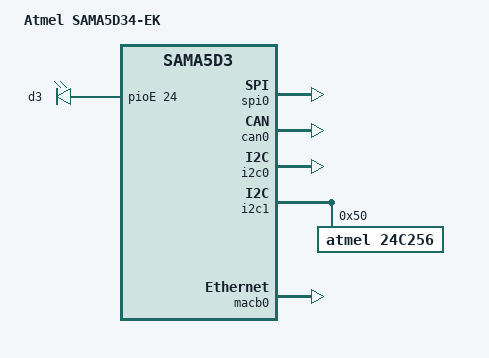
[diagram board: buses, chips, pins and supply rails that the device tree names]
/*
 * sama5d34ek.dts - Device Tree file for SAMA5D34-EK board
 *
 *  Copyright (C) 2013 Atmel,
 *                2013 Ludovic Desroches <ludovic.desroches@atmel.com>
 *
 * Licensed under GPLv2 or later.
 */
/dts-v1/;
#include "sama5d34.dtsi"
#include "sama5d3xmb.dtsi"
#include "sama5d3xmb_gmac.dtsi"
#include "sama5d3xdm.dtsi"

/ {
	model = "Atmel SAMA5D34-EK";
	compatible = "atmel,sama5d34ek", "atmel,sama5d3xmb", "atmel,sama5d3xcm", "atmel,sama5d34", "atmel,sama5d3", "atmel,sama5";

	ahb {
		apb {
			spi0: spi@f0004000 {
				status = "okay";
			};

			ssc0: ssc@f0008000 {
				status = "okay";
			};

			can0: can@f000c000 {
				status = "okay";
			};

			i2c0: i2c@f0014000 {
				status = "okay";
			};

			i2c1: i2c@f0018000 {
				status = "okay";

				24c256@50 {
					compatible = "atmel,24c256";
					reg = <0x50>;
					pagesize = <64>;
				};
			};

			macb0: ethernet@f0028000 {
				status = "okay";
			};
		};
	};

	leds {
		d3 {
			label = "d3";
			gpios = <&pioE 24 GPIO_ACTIVE_HIGH>;
		};
	};

	sound {
		status = "okay";
	};
};
